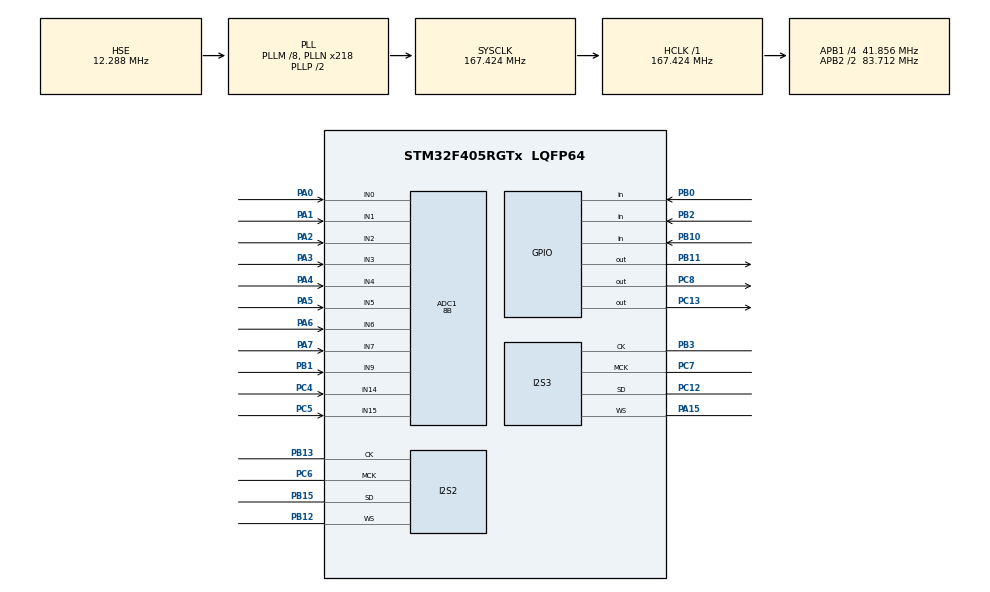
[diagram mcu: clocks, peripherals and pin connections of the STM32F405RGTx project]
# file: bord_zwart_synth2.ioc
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ADC1.Channel-0\#ChannelRegularConversion=ADC_CHANNEL_0
ADC1.Channel-1\#ChannelRegularConversion=ADC_CHANNEL_1
ADC1.Channel-10\#ChannelRegularConversion=ADC_CHANNEL_15
ADC1.Channel-2\#ChannelRegularConversion=ADC_CHANNEL_2
ADC1.Channel-3\#ChannelRegularConversion=ADC_CHANNEL_3
ADC1.Channel-4\#ChannelRegularConversion=ADC_CHANNEL_4
ADC1.Channel-5\#ChannelRegularConversion=ADC_CHANNEL_5
ADC1.Channel-6\#ChannelRegularConversion=ADC_CHANNEL_6
ADC1.Channel-7\#ChannelRegularConversion=ADC_CHANNEL_7
ADC1.Channel-8\#ChannelRegularConversion=ADC_CHANNEL_9
ADC1.Channel-9\#ChannelRegularConversion=ADC_CHANNEL_14
ADC1.ContinuousConvMode=ENABLE
ADC1.DMAContinuousRequests=ENABLE
ADC1.EOCSelection=ADC_EOC_SINGLE_CONV
ADC1.NbrOfConversion=11
ADC1.NbrOfConversionFlag=1
ADC1.Rank-0\#ChannelRegularConversion=1
ADC1.Rank-1\#ChannelRegularConversion=2
ADC1.Rank-10\#ChannelRegularConversion=11
ADC1.Rank-2\#ChannelRegularConversion=3
ADC1.Rank-3\#ChannelRegularConversion=4
ADC1.Rank-4\#ChannelRegularConversion=5
ADC1.Rank-5\#ChannelRegularConversion=6
ADC1.Rank-6\#ChannelRegularConversion=7
ADC1.Rank-7\#ChannelRegularConversion=8
ADC1.Rank-8\#ChannelRegularConversion=9
ADC1.Rank-9\#ChannelRegularConversion=10
ADC1.Resolution=ADC_RESOLUTION_8B
ADC1.SamplingTime-0\#ChannelRegularConversion=ADC_SAMPLETIME_480CYCLES
ADC1.SamplingTime-1\#ChannelRegularConversion=ADC_SAMPLETIME_480CYCLES
ADC1.SamplingTime-10\#ChannelRegularConversion=ADC_SAMPLETIME_480CYCLES
ADC1.SamplingTime-2\#ChannelRegularConversion=ADC_SAMPLETIME_480CYCLES
ADC1.SamplingTime-3\#ChannelRegularConversion=ADC_SAMPLETIME_480CYCLES
ADC1.SamplingTime-4\#ChannelRegularConversion=ADC_SAMPLETIME_480CYCLES
ADC1.SamplingTime-5\#ChannelRegularConversion=ADC_SAMPLETIME_480CYCLES
ADC1.SamplingTime-6\#ChannelRegularConversion=ADC_SAMPLETIME_480CYCLES
ADC1.SamplingTime-7\#ChannelRegularConversion=ADC_SAMPLETIME_480CYCLES
ADC1.SamplingTime-8\#ChannelRegularConversion=ADC_SAMPLETIME_480CYCLES
ADC1.SamplingTime-9\#ChannelRegularConversion=ADC_SAMPLETIME_480CYCLES
ADC1.master=1
Dma.ADC1.1.Direction=DMA_PERIPH_TO_MEMORY
Dma.ADC1.1.FIFOMode=DMA_FIFOMODE_DISABLE
Dma.ADC1.1.Instance=DMA2_Stream0
Dma.ADC1.1.MemDataAlignment=DMA_MDATAALIGN_WORD
Dma.ADC1.1.MemInc=DMA_MINC_ENABLE
Dma.ADC1.1.Mode=DMA_CIRCULAR
Dma.ADC1.1.PeriphDataAlignment=DMA_PDATAALIGN_WORD
Dma.ADC1.1.PeriphInc=DMA_PINC_DISABLE
Dma.ADC1.1.Priority=DMA_PRIORITY_LOW
Dma.Request0=SPI3_TX
Dma.Request1=ADC1
Dma.Request2=SPI2_RX
Dma.SPI2_RX.2.Direction=DMA_PERIPH_TO_MEMORY
Dma.SPI2_RX.2.FIFOMode=DMA_FIFOMODE_DISABLE
Dma.SPI2_RX.2.Instance=DMA1_Stream3
Dma.SPI2_RX.2.MemDataAlignment=DMA_MDATAALIGN_HALFWORD
Dma.SPI2_RX.2.MemInc=DMA_MINC_ENABLE
Dma.SPI2_RX.2.Mode=DMA_CIRCULAR
Dma.SPI2_RX.2.PeriphDataAlignment=DMA_PDATAALIGN_HALFWORD
Dma.SPI2_RX.2.PeriphInc=DMA_PINC_DISABLE
Dma.SPI2_RX.2.Priority=DMA_PRIORITY_VERY_HIGH
Dma.SPI3_TX.0.Direction=DMA_MEMORY_TO_PERIPH
Dma.SPI3_TX.0.FIFOMode=DMA_FIFOMODE_DISABLE
Dma.SPI3_TX.0.Instance=DMA1_Stream5
Dma.SPI3_TX.0.MemDataAlignment=DMA_MDATAALIGN_HALFWORD
Dma.SPI3_TX.0.MemInc=DMA_MINC_ENABLE
Dma.SPI3_TX.0.Mode=DMA_CIRCULAR
Dma.SPI3_TX.0.PeriphDataAlignment=DMA_PDATAALIGN_HALFWORD
Dma.SPI3_TX.0.PeriphInc=DMA_PINC_DISABLE
Dma.SPI3_TX.0.Priority=DMA_PRIORITY_VERY_HIGH
I2S2.AudioFreq=I2S_AUDIOFREQ_48K
I2S2.ErrorAudioFreq=0.0 %
I2S2.FullDuplexMode=I2S_FULLDUPLEXMODE_DISABLE
I2S2.Instance=SPI$Index
I2S2.Mode=I2S_MODE_MASTER_RX
I2S2.RealAudioFreq=48.0 KHz
I2S2.VirtualMode=I2S_MODE_MASTER
I2S3.AudioFreq=I2S_AUDIOFREQ_48K
I2S3.ErrorAudioFreq=0.0 %
I2S3.FullDuplexMode=I2S_FULLDUPLEXMODE_DISABLE
I2S3.Instance=SPI$Index
I2S3.RealAudioFreq=48.0 KHz
I2S3.VirtualMode=I2S_MODE_MASTER
Mcu.Family=STM32F4
Mcu.Name=STM32F405RGTx
Mcu.Package=LQFP64
NVIC.ADC_IRQn=true\:0\:0\:false\:false\:true\:true\:true
NVIC.DMA1_Stream3_IRQn=true\:0\:0\:false\:false\:true\:false\:true
NVIC.DMA1_Stream5_IRQn=true\:0\:0\:false\:false\:true\:false\:true
NVIC.DMA2_Stream0_IRQn=true\:0\:0\:false\:false\:true\:false\:true
NVIC.PriorityGroup=NVIC_PRIORITYGROUP_4
PA0-WKUP.Signal=ADCx_IN0
PA1.Signal=ADCx_IN1
PA13.Mode=Serial_Wire
PA13.Signal=SYS_JTMS-SWDIO
PA14.Mode=Serial_Wire
PA14.Signal=SYS_JTCK-SWCLK
PA15.Mode=Half_Duplex_Master
PA15.Signal=I2S3_WS
PA2.Signal=ADCx_IN2
PA3.Signal=ADCx_IN3
PA4.Signal=ADCx_IN4
PA5.Signal=ADCx_IN5
PA6.Signal=ADCx_IN6
PA7.Signal=ADCx_IN7
PB0.GPIO_PuPd=GPIO_PULLUP
PB0.Signal=GPIO_Input
PB1.Signal=ADCx_IN9
PB10.GPIO_PuPd=GPIO_PULLUP
PB10.Signal=GPIO_Input
PB11.Signal=GPIO_Output
PB12.Mode=Half_Duplex_Master
PB12.Signal=I2S2_WS
PB13.Mode=Half_Duplex_Master
PB13.Signal=I2S2_CK
PB15.Mode=Half_Duplex_Master
PB15.Signal=I2S2_SD
PB2.GPIO_PuPd=GPIO_PULLUP
PB2.Signal=GPIO_Input
PB3.Mode=Half_Duplex_Master
PB3.Signal=I2S3_CK
PC12.Mode=Half_Duplex_Master
PC12.Signal=I2S3_SD
PC13-ANTI_TAMP.Signal=GPIO_Output
PC4.Signal=ADCx_IN14
PC5.Signal=ADCx_IN15
PC6.Mode=Master_Clock_Activated
PC6.Signal=I2S2_MCK
PC7.Mode=Master_Clock_Activated
PC7.Signal=I2S3_MCK
PC8.Signal=GPIO_Output
PH0-OSC_IN.Mode=HSE-External-Oscillator
PH0-OSC_IN.Signal=RCC_OSC_IN
PH1-OSC_OUT.Mode=HSE-External-Oscillator
PH1-OSC_OUT.Signal=RCC_OSC_OUT
ProjectManager.HeapSize=0x200
ProjectManager.StackSize=0x400
ProjectManager.TargetToolchain=STM32CubeIDE
RCC.48MHZClocksFreq_Value=83712000
RCC.AHBFreq_Value=167424000
RCC.APB1CLKDivider=RCC_HCLK_DIV4
RCC.APB1Freq_Value=41856000
RCC.APB1TimFreq_Value=83712000
RCC.APB2CLKDivider=RCC_HCLK_DIV2
RCC.APB2Freq_Value=83712000
RCC.APB2TimFreq_Value=167424000
RCC.CortexFreq_Value=167424000
RCC.HCLKFreq_Value=167424000
RCC.HSE_VALUE=12288000
RCC.HSI_VALUE=16000000
RCC.LSE_VALUE=32768
RCC.PLLI2SN=128
RCC.PLLM=8
RCC.PLLN=218
RCC.PLLSourceVirtual=RCC_PLLSOURCE_HSE
RCC.SYSCLKFreq_VALUE=167424000
RCC.SYSCLKSource=RCC_SYSCLKSOURCE_PLLCLK
RCC.VCOOutputFreq_Value=334848000
SH.ADCx_IN0.0=ADC1_IN0,IN0
SH.ADCx_IN1.0=ADC1_IN1,IN1
SH.ADCx_IN14.0=ADC1_IN14,IN14
SH.ADCx_IN15.0=ADC1_IN15,IN15
SH.ADCx_IN2.0=ADC1_IN2,IN2
SH.ADCx_IN3.0=ADC1_IN3,IN3
SH.ADCx_IN4.0=ADC1_IN4,IN4
SH.ADCx_IN5.0=ADC1_IN5,IN5
SH.ADCx_IN6.0=ADC1_IN6,IN6
SH.ADCx_IN7.0=ADC1_IN7,IN7
SH.ADCx_IN9.0=ADC1_IN9,IN9
board=custom

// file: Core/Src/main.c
/* USER CODE BEGIN Header */
/**
  ******************************************************************************
  * @file           : main.c
  * @brief          : Main program body
  ******************************************************************************
  * @attention
  *
  * <h2><center>&copy; Copyright (c) 2021 STMicroelectronics.
  * All rights reserved.</center></h2>
  *
  * This software component is licensed by ST under BSD 3-Clause license,
  * the "License"; You may not use this file except in compliance with the
  * License. You may obtain a copy of the License at:
  *                        opensource.org/licenses/BSD-3-Clause
  *
  ******************************************************************************
  */
/* USER CODE END Header */
#include "main.h"

/* USER CODE BEGIN Includes */
#include "arm_math.h"
#include "sample.h"
/* USER CODE END Includes */

/* USER CODE BEGIN PD */
#define n 32
#define samples 6
#define synthsamplelength 2043
/* USER CODE END PD */

ADC_HandleTypeDef hadc1;
DMA_HandleTypeDef hdma_adc1;

I2S_HandleTypeDef hi2s2;
I2S_HandleTypeDef hi2s3;
DMA_HandleTypeDef hdma_spi2_rx;
DMA_HandleTypeDef hdma_spi3_tx;

/* USER CODE BEGIN PV */
float sampleout[4][n];
float rekensample[2][n];
float M_out_f32[n];
int input = 0;
int synthintarray[4][n];
int numbersofint = 0;
int sample_change_count = 0;
int change = 0;
int samplecounter[4] = {0};
float floatsamplecounter[4] = {0};
float frequency_add[4] = {0};
float frequencyreken = 0;
uint16_t audio_in[4*n];
uint16_t audio_out[4*n];
uint32_t adc_data[11];
uint8_t pot[11];
q15_t audio_r_in[n];
q15_t audio_l_in[n];
q15_t audio_r_out[n];
q15_t audio_l_out[n];
q15_t M_in[n];
q15_t M_out[n];
float* samplearray[samples] = {
	acid,
	jno,
	saw,
	square,
	sine,
	triangle
};
float iir_coeffs [5] = {
				0.003916123487156427f,
				0.007832246974312854f,
				0.003916123487156427f,
				1.8153396116625289f,
				-0.8310041056111546
};
float iir_state [4];
arm_biquad_casd_df1_inst_f32 iirsettings;
float lfo_iir = 100;

/* USER CODE END PV */

void SystemClock_Config(void);
static void MX_GPIO_Init(void);
static void MX_DMA_Init(void);
static void MX_ADC1_Init(void);
static void MX_I2S2_Init(void);
static void MX_I2S3_Init(void);

int main(void)
{

  /* MCU Configuration--------------------------------------------------------*/

  /* Reset of all peripherals, Initializes the Flash interface and the Systick. */
  HAL_Init();

  /* Configure the system clock */
  SystemClock_Config();

  /* Initialize all configured peripherals */
  MX_GPIO_Init();
  MX_DMA_Init();
  MX_ADC1_Init();
  MX_I2S2_Init();
  MX_I2S3_Init();
  /* USER CODE BEGIN 2 */

  HAL_GPIO_WritePin(GPIOC, GPIO_PIN_8, GPIO_PIN_SET);
  HAL_GPIO_TogglePin(GPIOA, GPIO_PIN_6);
  HAL_ADC_Start(&hadc1);
  HAL_ADC_Start_DMA(&hadc1, adc_data, 11);

  HAL_I2S_Receive_DMA(&hi2s2, audio_in, 4*n);
  HAL_I2S_Transmit_DMA(&hi2s3, audio_out, 4*n);
  arm_biquad_cascade_df1_init_f32 ( &iirsettings, 1, &iir_coeffs[0], &iir_state[0]);

  /* USER CODE END 2 */

  /* Infinite loop */
  while (1)
  {

    /* USER CODE BEGIN 3 */
	  input = HAL_GPIO_ReadPin(GPIOB, GPIO_PIN_2);
	  if (input != change) {

		  change = input;

		  if (sample_change_count == samples-1) {
			  sample_change_count = 0;
		} else {
			sample_change_count = sample_change_count + 1;
		}

	  }
	  HAL_GPIO_TogglePin(GPIOC, GPIO_PIN_13);
	  if (lfo_iir < 0 + pot[8] ) {
		lfo_iir = pot[10] + pot[8];
	  }
	  else {
		lfo_iir = lfo_iir - 1.0 - pot[10]/20;
		}

	  HAL_Delay(10);
  }
  /* USER CODE END 3 */
}

void SystemClock_Config(void)
{
  RCC_OscInitTypeDef RCC_OscInitStruct = {0};
  RCC_ClkInitTypeDef RCC_ClkInitStruct = {0};
  RCC_PeriphCLKInitTypeDef PeriphClkInitStruct = {0};

  /** Configure the main internal regulator output voltage
  */
  __HAL_RCC_PWR_CLK_ENABLE();
  __HAL_PWR_VOLTAGESCALING_CONFIG(PWR_REGULATOR_VOLTAGE_SCALE1);
  /** Initializes the RCC Oscillators according to the specified parameters
  * in the RCC_OscInitTypeDef structure.
  */
  RCC_OscInitStruct.OscillatorType = RCC_OSCILLATORTYPE_HSE;
  RCC_OscInitStruct.HSEState = RCC_HSE_ON;
  RCC_OscInitStruct.PLL.PLLState = RCC_PLL_ON;
  RCC_OscInitStruct.PLL.PLLSource = RCC_PLLSOURCE_HSE;
  RCC_OscInitStruct.PLL.PLLM = 8;
  RCC_OscInitStruct.PLL.PLLN = 218;
  RCC_OscInitStruct.PLL.PLLP = RCC_PLLP_DIV2;
  RCC_OscInitStruct.PLL.PLLQ = 4;
  if (HAL_RCC_OscConfig(&RCC_OscInitStruct) != HAL_OK)
  {
    Error_Handler();
  }
  /** Initializes the CPU, AHB and APB buses clocks
  */
  RCC_ClkInitStruct.ClockType = RCC_CLOCKTYPE_HCLK|RCC_CLOCKTYPE_SYSCLK
                              |RCC_CLOCKTYPE_PCLK1|RCC_CLOCKTYPE_PCLK2;
  RCC_ClkInitStruct.SYSCLKSource = RCC_SYSCLKSOURCE_PLLCLK;
  RCC_ClkInitStruct.AHBCLKDivider = RCC_SYSCLK_DIV1;
  RCC_ClkInitStruct.APB1CLKDivider = RCC_HCLK_DIV4;
  RCC_ClkInitStruct.APB2CLKDivider = RCC_HCLK_DIV2;

  if (HAL_RCC_ClockConfig(&RCC_ClkInitStruct, FLASH_LATENCY_5) != HAL_OK)
  {
    Error_Handler();
  }
  PeriphClkInitStruct.PeriphClockSelection = RCC_PERIPHCLK_I2S;
  PeriphClkInitStruct.PLLI2S.PLLI2SN = 128;
  PeriphClkInitStruct.PLLI2S.PLLI2SR = 2;
  if (HAL_RCCEx_PeriphCLKConfig(&PeriphClkInitStruct) != HAL_OK)
  {
    Error_Handler();
  }
}

static void MX_ADC1_Init(void)
{

  ADC_ChannelConfTypeDef sConfig = {0};

  /** Configure the global features of the ADC (Clock, Resolution, Data Alignment and number of conversion)
  */
  hadc1.Instance = ADC1;
  hadc1.Init.ClockPrescaler = ADC_CLOCK_SYNC_PCLK_DIV4;
  hadc1.Init.Resolution = ADC_RESOLUTION_8B;
  hadc1.Init.ScanConvMode = ENABLE;
  hadc1.Init.ContinuousConvMode = ENABLE;
  hadc1.Init.DiscontinuousConvMode = DISABLE;
  hadc1.Init.ExternalTrigConvEdge = ADC_EXTERNALTRIGCONVEDGE_NONE;
  hadc1.Init.ExternalTrigConv = ADC_SOFTWARE_START;
  hadc1.Init.DataAlign = ADC_DATAALIGN_RIGHT;
  hadc1.Init.NbrOfConversion = 11;
  hadc1.Init.DMAContinuousRequests = ENABLE;
  hadc1.Init.EOCSelection = ADC_EOC_SINGLE_CONV;
  if (HAL_ADC_Init(&hadc1) != HAL_OK)
  {
    Error_Handler();
  }
  /** Configure for the selected ADC regular channel its corresponding rank in the sequencer and its sample time.
  */
  sConfig.Channel = ADC_CHANNEL_0;
  sConfig.Rank = 1;
  sConfig.SamplingTime = ADC_SAMPLETIME_480CYCLES;
  if (HAL_ADC_ConfigChannel(&hadc1, &sConfig) != HAL_OK)
  {
    Error_Handler();
  }
  /** Configure for the selected ADC regular channel its corresponding rank in the sequencer and its sample time.
  */
  sConfig.Channel = ADC_CHANNEL_1;
  sConfig.Rank = 2;
  if (HAL_ADC_ConfigChannel(&hadc1, &sConfig) != HAL_OK)
  {
    Error_Handler();
  }
  /** Configure for the selected ADC regular channel its corresponding rank in the sequencer and its sample time.
  */
  sConfig.Channel = ADC_CHANNEL_2;
  sConfig.Rank = 3;
  if (HAL_ADC_ConfigChannel(&hadc1, &sConfig) != HAL_OK)
  {
    Error_Handler();
  }
  /** Configure for the selected ADC regular channel its corresponding rank in the sequencer and its sample time.
  */
  sConfig.Channel = ADC_CHANNEL_3;
  sConfig.Rank = 4;
  if (HAL_ADC_ConfigChannel(&hadc1, &sConfig) != HAL_OK)
  {
    Error_Handler();
  }
  /** Configure for the selected ADC regular channel its corresponding rank in the sequencer and its sample time.
  */
  sConfig.Channel = ADC_CHANNEL_4;
  sConfig.Rank = 5;
  if (HAL_ADC_ConfigChannel(&hadc1, &sConfig) != HAL_OK)
  {
    Error_Handler();
  }
  /** Configure for the selected ADC regular channel its corresponding rank in the sequencer and its sample time.
  */
  sConfig.Channel = ADC_CHANNEL_5;
  sConfig.Rank = 6;
  if (HAL_ADC_ConfigChannel(&hadc1, &sConfig) != HAL_OK)
  {
    Error_Handler();
  }
  /** Configure for the selected ADC regular channel its corresponding rank in the sequencer and its sample time.
  */
  sConfig.Channel = ADC_CHANNEL_6;
  sConfig.Rank = 7;
  if (HAL_ADC_ConfigChannel(&hadc1, &sConfig) != HAL_OK)
  {
    Error_Handler();
  }
  /** Configure for the selected ADC regular channel its corresponding rank in the sequencer and its sample time.
  */
  sConfig.Channel = ADC_CHANNEL_7;
  sConfig.Rank = 8;
  if (HAL_ADC_ConfigChannel(&hadc1, &sConfig) != HAL_OK)
  {
    Error_Handler();
  }
  /** Configure for the selected ADC regular channel its corresponding rank in the sequencer and its sample time.
  */
  sConfig.Channel = ADC_CHANNEL_9;
  sConfig.Rank = 9;
  if (HAL_ADC_ConfigChannel(&hadc1, &sConfig) != HAL_OK)
  {
    Error_Handler();
  }
  /** Configure for the selected ADC regular channel its corresponding rank in the sequencer and its sample time.
  */
  sConfig.Channel = ADC_CHANNEL_14;
  sConfig.Rank = 10;
  if (HAL_ADC_ConfigChannel(&hadc1, &sConfig) != HAL_OK)
  {
    Error_Handler();
  }
  /** Configure for the selected ADC regular channel its corresponding rank in the sequencer and its sample time.
  */
  sConfig.Channel = ADC_CHANNEL_15;
  sConfig.Rank = 11;
  if (HAL_ADC_ConfigChannel(&hadc1, &sConfig) != HAL_OK)
  {
    Error_Handler();
  }

}

static void MX_I2S2_Init(void)
{

  hi2s2.Instance = SPI2;
  hi2s2.Init.Mode = I2S_MODE_MASTER_RX;
  hi2s2.Init.Standard = I2S_STANDARD_PHILIPS;
  hi2s2.Init.DataFormat = I2S_DATAFORMAT_16B;
  hi2s2.Init.MCLKOutput = I2S_MCLKOUTPUT_ENABLE;
  hi2s2.Init.AudioFreq = I2S_AUDIOFREQ_48K;
  hi2s2.Init.CPOL = I2S_CPOL_LOW;
  hi2s2.Init.ClockSource = I2S_CLOCK_PLL;
  hi2s2.Init.FullDuplexMode = I2S_FULLDUPLEXMODE_DISABLE;
  if (HAL_I2S_Init(&hi2s2) != HAL_OK)
  {
    Error_Handler();
  }

}

static void MX_I2S3_Init(void)
{

  hi2s3.Instance = SPI3;
  hi2s3.Init.Mode = I2S_MODE_MASTER_TX;
  hi2s3.Init.Standard = I2S_STANDARD_PHILIPS;
  hi2s3.Init.DataFormat = I2S_DATAFORMAT_16B;
  hi2s3.Init.MCLKOutput = I2S_MCLKOUTPUT_ENABLE;
  hi2s3.Init.AudioFreq = I2S_AUDIOFREQ_48K;
  hi2s3.Init.CPOL = I2S_CPOL_LOW;
  hi2s3.Init.ClockSource = I2S_CLOCK_PLL;
  hi2s3.Init.FullDuplexMode = I2S_FULLDUPLEXMODE_DISABLE;
  if (HAL_I2S_Init(&hi2s3) != HAL_OK)
  {
    Error_Handler();
  }

}

static void MX_DMA_Init(void)
{

  /* DMA controller clock enable */
  __HAL_RCC_DMA1_CLK_ENABLE();
  __HAL_RCC_DMA2_CLK_ENABLE();

  /* DMA interrupt init */
  /* DMA1_Stream3_IRQn interrupt configuration */
  HAL_NVIC_SetPriority(DMA1_Stream3_IRQn, 0, 0);
  HAL_NVIC_EnableIRQ(DMA1_Stream3_IRQn);
  /* DMA1_Stream5_IRQn interrupt configuration */
  HAL_NVIC_SetPriority(DMA1_Stream5_IRQn, 0, 0);
  HAL_NVIC_EnableIRQ(DMA1_Stream5_IRQn);
  /* DMA2_Stream0_IRQn interrupt configuration */
  HAL_NVIC_SetPriority(DMA2_Stream0_IRQn, 0, 0);
  HAL_NVIC_EnableIRQ(DMA2_Stream0_IRQn);

}

static void MX_GPIO_Init(void)
{
  GPIO_InitTypeDef GPIO_InitStruct = {0};

  /* GPIO Ports Clock Enable */
  __HAL_RCC_GPIOC_CLK_ENABLE();
  __HAL_RCC_GPIOH_CLK_ENABLE();
  __HAL_RCC_GPIOA_CLK_ENABLE();
  __HAL_RCC_GPIOB_CLK_ENABLE();

  /*Configure GPIO pin Output Level */
  HAL_GPIO_WritePin(GPIOC, GPIO_PIN_13|GPIO_PIN_8, GPIO_PIN_RESET);

  /*Configure GPIO pin Output Level */
  HAL_GPIO_WritePin(GPIOB, GPIO_PIN_11, GPIO_PIN_RESET);

  /*Configure GPIO pins : PC13 PC8 */
  GPIO_InitStruct.Pin = GPIO_PIN_13|GPIO_PIN_8;
  GPIO_InitStruct.Mode = GPIO_MODE_OUTPUT_PP;
  GPIO_InitStruct.Pull = GPIO_NOPULL;
  GPIO_InitStruct.Speed = GPIO_SPEED_FREQ_LOW;
  HAL_GPIO_Init(GPIOC, &GPIO_InitStruct);

  /*Configure GPIO pins : PB0 PB2 PB10 */
  GPIO_InitStruct.Pin = GPIO_PIN_0|GPIO_PIN_2|GPIO_PIN_10;
  GPIO_InitStruct.Mode = GPIO_MODE_INPUT;
  GPIO_InitStruct.Pull = GPIO_PULLUP;
  HAL_GPIO_Init(GPIOB, &GPIO_InitStruct);

  /*Configure GPIO pin : PB11 */
  GPIO_InitStruct.Pin = GPIO_PIN_11;
  GPIO_InitStruct.Mode = GPIO_MODE_OUTPUT_PP;
  GPIO_InitStruct.Pull = GPIO_NOPULL;
  GPIO_InitStruct.Speed = GPIO_SPEED_FREQ_LOW;
  HAL_GPIO_Init(GPIOB, &GPIO_InitStruct);

}

/* USER CODE BEGIN 4 */
void berekenfilters(){
	float cf_PI = 3.14159265359f;
	float Frequency = 440.0*powf(2,((pot[10]/4-69.0)/12.0)+1);
	float cf_Q = 1.4f;
	float f_Sample = 48000.0f;
	float  norm;
	float cf_K = tan(cf_PI*Frequency/f_Sample);
	norm = 1.0f / (1.0f + cf_K / cf_Q + cf_K * cf_K);
	iir_coeffs[0] = cf_K * cf_K * norm;
	iir_coeffs[1] = 2.0f * iir_coeffs[0];
	iir_coeffs[2] = iir_coeffs[0];
	iir_coeffs[3] = -2.0f * (cf_K * cf_K - 1.0f) * norm;
	iir_coeffs[4] = -(1.0f - cf_K / cf_Q + cf_K * cf_K) * norm;
}
void do_processing(q15_t* audio_l_in, q15_t* audio_r_in, q15_t* audio_l_out, q15_t* audio_r_out)
{
	for (int k = 0; k < 4; ++k) {
	frequency_add[k] = (440.0*powf(2,((pot[k]-69.0)/12.0)))/23.2558139535;
	int frequency_sample_minus = (440.0*powf(2,((pot[k]-69.0)/12.0)))/23.2558139535;
	frequencyreken = frequency_add[k] - (float)frequency_sample_minus;
	numbersofint = (frequencyreken * 100)/3.96875;
	for (int j = 0; j < n; ++j) {
		if (numbersofint > 0) {
			synthintarray[k][j] = frequency_add[k] + 1;
			numbersofint = numbersofint -1;
		}
		else{
			synthintarray[k][j] = frequency_add[k];
		}

	}
	for (int i = 0; i < n; ++i) {
		sampleout[k][i] = samplearray[k][samplecounter[k]];
		if (floatsamplecounter[k]+frequency_add[k] > synthsamplelength) {
			samplecounter[k] = 0;
			floatsamplecounter[k] = 0;
		}
		else {
			floatsamplecounter[k] += frequency_add[k];
			samplecounter[k] += synthintarray[k][i];
		}
	}
	}
	berekenfilters();
	for (int i = 0; i < 4; ++i) {
		if (pot[7-i] < 5) {
			for (int k = 0; k < n; ++k) {
				sampleout[i][k] = 0;
			}

		} else {
			arm_scale_f32(sampleout[i], pot[4+i]/100 + 1, sampleout[i], n);
		}

	}
	arm_add_f32(sampleout[0], sampleout[1], rekensample[0], n);
	arm_add_f32(sampleout[2], sampleout[3], rekensample[1], n);
	arm_add_f32(rekensample[0], rekensample[1], M_out_f32, n);
	arm_biquad_cascade_df1_f32(&iirsettings, M_out_f32, M_out_f32, n);
	arm_float_to_q15(M_out_f32, M_out, n);
	arm_scale_q15(M_out, pot[9]*4-1, 1, M_out, n);

	arm_copy_q15(M_out, audio_l_out, n);
	arm_copy_q15(M_out, audio_r_out, n);
}

void HAL_I2S_RxHalfCpltCallback(I2S_HandleTypeDef *hi2s)
{
 /* Prevent unused argument(s) compilation warning */
	for (int i = 0; i < n; ++i) {
		audio_l_in[i] = audio_in[i*2];
		audio_r_in[i] = audio_in[i*2+1];
	}
	do_processing(audio_l_in, audio_r_in, audio_l_out, audio_r_out);
	for (int i = 0; i < n; ++i) {
		audio_out[2*i]   = audio_l_out[i];
		audio_out[2*i+1] = audio_r_out[i];
	}
	//for (int i = 0; i < n; ++i) {
	//	audio_out[i] = audio_in[i];
	//}
 /* NOTE : This function Should not be modified, when the callback is needed,
           the HAL_I2S_RxHalfCpltCallback could be implemented in the user file
  */
}
void HAL_I2S_RxCpltCallback(I2S_HandleTypeDef *hi2s)
{
  /* Prevent unused argument(s) compilation warning */
	//for (int i = n; i < 2*n; ++i) {
	//	audio_out[i] = audio_in[i];
	//}

	for (int i = 0; i < n; ++i) {
		audio_l_in[i] = audio_in[2*i+2*n];
		audio_r_in[i] = audio_in[2*i+2*n+1];
	}
	//processing audio
	//einde processing
	do_processing(audio_l_in, audio_r_in, audio_l_out, audio_r_out);
	//van array naar buffer
	for (int i = 0; i < n; ++i) {
		audio_out[2*i+2*n]   = audio_l_out[i];
		audio_out[2*i+2*n+1] = audio_r_out[i];
	}
  /* NOTE : This function Should not be modified, when the callback is needed,
            the HAL_I2S_RxCpltCallback could be implemented in the user file
   */
}
void HAL_ADC_ConvCpltCallback(ADC_HandleTypeDef* hadc){

		pot[0] = adc_data[0];
		pot[1] = adc_data[1];
		pot[2] = adc_data[2];
		pot[3] = adc_data[3];
		pot[4] = adc_data[4];
		pot[5] = adc_data[5];
		pot[6] = adc_data[6];
		pot[7] = adc_data[7];
		pot[8] = adc_data[8];
		pot[9] = adc_data[9];
		pot[10] = adc_data[10];
}
/* USER CODE END 4 */

void Error_Handler(void)
{
  __disable_irq();
  while (1)
  {
  }
}

/************************ (C) COPYRIGHT STMicroelectronics *****END OF FILE****/
